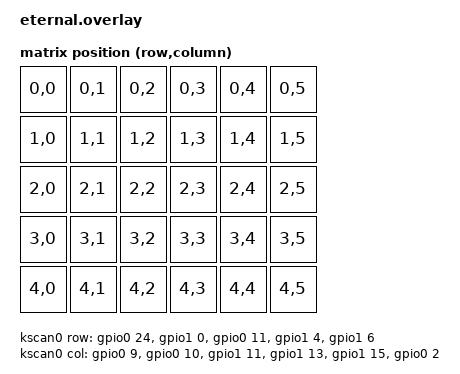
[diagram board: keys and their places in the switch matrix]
#include <dt-bindings/zmk/matrix_transform.h>

/
{
    chosen { zmk,kscan = &kscan0; };

    kscan0: kscan {
        compatible = "zmk,kscan-gpio-matrix";
        label = "KSCAN";

        row-gpios = <&gpio0 24  (GPIO_ACTIVE_HIGH | GPIO_PULL_DOWN)>,
                    <&gpio1 0   (GPIO_ACTIVE_HIGH | GPIO_PULL_DOWN)>,
                    <&gpio0 11  (GPIO_ACTIVE_HIGH | GPIO_PULL_DOWN)>,
                    <&gpio1 4   (GPIO_ACTIVE_HIGH | GPIO_PULL_DOWN)>,
                    <&gpio1 6   (GPIO_ACTIVE_HIGH | GPIO_PULL_DOWN)>;

        col-gpios = <&gpio0 9  GPIO_ACTIVE_HIGH>,
                    <&gpio0 10 GPIO_ACTIVE_HIGH>,
                    <&gpio1 11 GPIO_ACTIVE_HIGH>,
                    <&gpio1 13 GPIO_ACTIVE_HIGH>,
                    <&gpio1 15 GPIO_ACTIVE_HIGH>,
                    <&gpio0 2  GPIO_ACTIVE_HIGH>;

        diode-direction = "col2row";
        debounce-press-ms = <5>;
        debounce-release-ms = <5>;
        wakeup-source;
    };

    matrix_transform {
        compatible = "zmk,matrix-transform";
        columns = <6>;
        rows = <5>;
        map = < 
            RC(0,0) RC(0,1) RC(0,2) RC(0,3) RC(0,4) RC(0,5)
            RC(1,0) RC(1,1) RC(1,2) RC(1,3) RC(1,4) RC(1,5)
            RC(2,0) RC(2,1) RC(2,2) RC(2,3) RC(2,4) RC(2,5)
            RC(3,0) RC(3,1) RC(3,2) RC(3,3) RC(3,4) RC(3,5)
            RC(4,0) RC(4,1) RC(4,2) RC(4,3) RC(4,4) RC(4,5)
        >;
    };
};

&i2c0 {
    status = "okay";
    sda-pin = <17>;
    scl-pin = <20>;
    clock-frequency = <I2C_BITRATE_STANDARD>;

    oled0: oled@3c {
        compatible = "solomon,ssd1306fb";
        reg = <0x3C>;
        width = <128>;
        height = <32>;
        label = "OLED";
    };
};


